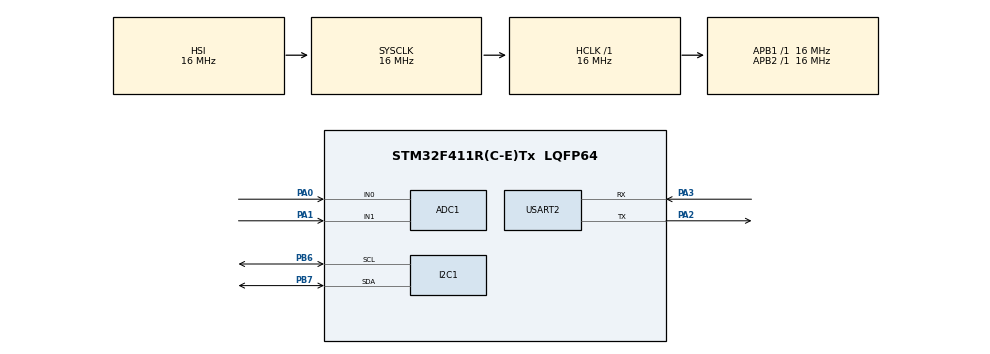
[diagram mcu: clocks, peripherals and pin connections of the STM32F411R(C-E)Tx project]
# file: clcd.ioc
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ADC1.Channel-0\#ChannelRegularConversion=ADC_CHANNEL_0
ADC1.Channel-1\#ChannelRegularConversion=ADC_CHANNEL_1
ADC1.ClockPrescaler=ADC_CLOCK_SYNC_PCLK_DIV6
ADC1.ContinuousConvMode=ENABLE
ADC1.DMAContinuousRequests=ENABLE
ADC1.NbrOfConversion=2
ADC1.NbrOfConversionFlag=1
ADC1.Rank-0\#ChannelRegularConversion=1
ADC1.Rank-1\#ChannelRegularConversion=2
ADC1.SamplingTime-0\#ChannelRegularConversion=ADC_SAMPLETIME_56CYCLES
ADC1.SamplingTime-1\#ChannelRegularConversion=ADC_SAMPLETIME_56CYCLES
ADC1.ScanConvMode=ENABLE
ADC1.master=1
Dma.ADC1.0.Direction=DMA_PERIPH_TO_MEMORY
Dma.ADC1.0.FIFOMode=DMA_FIFOMODE_DISABLE
Dma.ADC1.0.Instance=DMA2_Stream0
Dma.ADC1.0.MemDataAlignment=DMA_MDATAALIGN_HALFWORD
Dma.ADC1.0.MemInc=DMA_MINC_ENABLE
Dma.ADC1.0.Mode=DMA_CIRCULAR
Dma.ADC1.0.PeriphDataAlignment=DMA_PDATAALIGN_HALFWORD
Dma.ADC1.0.PeriphInc=DMA_PINC_DISABLE
Dma.ADC1.0.Priority=DMA_PRIORITY_LOW
Dma.Request0=ADC1
I2C1.I2C_Mode=I2C_Fast
Mcu.Family=STM32F4
Mcu.Name=STM32F411R(C-E)Tx
Mcu.Package=LQFP64
NVIC.DMA2_Stream0_IRQn=true\:0\:0\:false\:false\:true\:false\:true\:true
NVIC.PriorityGroup=NVIC_PRIORITYGROUP_4
NVIC.USART2_IRQn=true\:0\:0\:false\:false\:true\:true\:true\:true
PA0-WKUP.Signal=ADCx_IN0
PA1.Signal=ADCx_IN1
PA2.Mode=Asynchronous
PA2.Signal=USART2_TX
PA3.Mode=Asynchronous
PA3.Signal=USART2_RX
PB6.GPIO_Pu=GPIO_PULLUP
PB6.Mode=I2C
PB6.Signal=I2C1_SCL
PB7.GPIO_Pu=GPIO_PULLUP
PB7.Mode=I2C
PB7.Signal=I2C1_SDA
ProjectManager.HeapSize=0x200
ProjectManager.StackSize=0x400
ProjectManager.TargetToolchain=STM32CubeIDE
RCC.AHBFreq_Value=16000000
RCC.APB1Freq_Value=16000000
RCC.APB2Freq_Value=16000000
RCC.CortexFreq_Value=16000000
RCC.HSE_VALUE=25000000
RCC.HSI_VALUE=16000000
RCC.LSE_VALUE=32768
RCC.SYSCLKFreq_VALUE=16000000
RCC.VCOOutputFreq_Value=192000000
SH.ADCx_IN0.0=ADC1_IN0,IN0
SH.ADCx_IN1.0=ADC1_IN1,IN1
USART2.VirtualMode=VM_ASYNC
board=custom

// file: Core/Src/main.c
/* USER CODE BEGIN Header */
/**
 ******************************************************************************
 * @file           : main.c
 * @brief          : Main program body
 ******************************************************************************
 * @attention
 *
 * Copyright (c) 2024 STMicroelectronics.
 * All rights reserved.
 *
 * This software is licensed under terms that can be found in the LICENSE file
 * in the root directory of this software component.
 * If no LICENSE file comes with this software, it is provided AS-IS.
 *
 ******************************************************************************
 */
/* USER CODE END Header */
#include "main.h"

/* USER CODE BEGIN Includes */
#include "uart.h"
#include "I2C_CLCD.h"
#include <stdio.h>
/* USER CODE END Includes */

ADC_HandleTypeDef hadc1;
DMA_HandleTypeDef hdma_adc1;

I2C_HandleTypeDef hi2c1;

UART_HandleTypeDef huart2;

void SystemClock_Config(void);
static void MX_GPIO_Init(void);
static void MX_DMA_Init(void);
static void MX_I2C1_Init(void);
static void MX_USART2_UART_Init(void);
static void MX_ADC1_Init(void);

int main(void) {

	/* MCU Configuration--------------------------------------------------------*/

	/* Reset of all peripherals, Initializes the Flash interface and the Systick. */
	HAL_Init();

	/* Configure the system clock */
	SystemClock_Config();

	/* Initialize all configured peripherals */
	MX_GPIO_Init();
	MX_DMA_Init();
	MX_I2C1_Init();
	MX_USART2_UART_Init();
	MX_ADC1_Init();
	/* USER CODE BEGIN 2 */
	initUART(&huart2);
	printf("i2c scan start\n");
	for (int address = 0; address < 256; address++) { //target device detect
		if (HAL_I2C_IsDeviceReady(&hi2c1, address, 0, 10) == HAL_OK) { //10ms
			printf("%02x is ready\n", address);
			// detecting 0x4e, 0x4f (clcd) -> 0x27 + R/W
			// detecting 0xa0, 0xa1(eeprom), 0xd0, 0xd1(rtc)

		}
	}
	printf("i2c scan end\n");
	I2C_CLCD_init();
	I2C_CLCD_GotoXY(0, 0);
	I2C_CLCD_PutStr("                   ");
	I2C_CLCD_GotoXY(0, 1);
	I2C_CLCD_PutStr("                   ");
	I2C_CLCD_GotoXY(0, 0);
	I2C_CLCD_CustomFont();

	//setup ADC (DMA)
	uint16_t adcValue[2];
	HAL_ADC_Start_DMA(&hadc1, (uint32_t*) adcValue, 2);

	I2C_CLCD_GotoXY(0, 0);
	I2C_CLCD_PutC(0x00);
	I2C_CLCD_PutC(0x01);
	I2C_CLCD_PutC(2);
	I2C_CLCD_PutC(3);
	//I2C_CLCD_GotoXY(12, 1);
	I2C_CLCD_PutC(4);
	I2C_CLCD_PutC(5);
	I2C_CLCD_PutC(6);
	I2C_CLCD_PutC(7);
	I2C_CLCD_CG_Update();

	/* USER CODE END 2 */

	/* Infinite loop */
	/* USER CODE BEGIN WHILE */
	while (1) {
		/*static int count = 0;
		 I2C_CLCD_Progressbar(count, 0);
		 count++;
		 count %= 81;*/

		/*
		 // A0 conversion 0 ~ 4095
		 HAL_ADC_Start(&hadc1);
		 HAL_ADC_PollForConversion(&hadc1, 10);
		 uint16_t adcValue1 = HAL_ADC_GetValue(&hadc1);
		 HAL_ADC_Stop(&hadc1);
		 // A1 conversion
		 HAL_ADC_PollForConversion(&hadc1, 10);
		 uint16_t adcValue2 = HAL_ADC_GetValue(&hadc1);

		 I2C_CLCD_Progressbar(adcValue1/51,0); // or Using map function
		 I2C_CLCD_Progressbar(adcValue2/51,1);
		 */

		/*I2C_CLCD_Progressbar(adcValue[0]/51,0); // or Using map function
		 I2C_CLCD_Progressbar(adcValue[1]/51,1);*/

		I2C_CLCD_CG_ScrollLeft();
		I2C_CLCD_CG_DrawPixel(39, 7 - (adcValue[1] / 585)); //4095/15 = 273
		I2C_CLCD_CG_Update();
		/*I2C_CLCD_GotoXY(5, 0);
		 char str[20];
		 sprintf(str, "%5d", adcValue[1]);
		 I2C_CLCD_PutStr(str);*/
		HAL_Delay(50);

		/* USER CODE END WHILE */

	}
}

void SystemClock_Config(void) {
	RCC_OscInitTypeDef RCC_OscInitStruct = { 0 };
	RCC_ClkInitTypeDef RCC_ClkInitStruct = { 0 };

	/** Configure the main internal regulator output voltage
	 */
	__HAL_RCC_PWR_CLK_ENABLE();
	__HAL_PWR_VOLTAGESCALING_CONFIG(PWR_REGULATOR_VOLTAGE_SCALE1);

	/** Initializes the RCC Oscillators according to the specified parameters
	 * in the RCC_OscInitTypeDef structure.
	 */
	RCC_OscInitStruct.OscillatorType = RCC_OSCILLATORTYPE_HSI;
	RCC_OscInitStruct.HSIState = RCC_HSI_ON;
	RCC_OscInitStruct.HSICalibrationValue = RCC_HSICALIBRATION_DEFAULT;
	RCC_OscInitStruct.PLL.PLLState = RCC_PLL_NONE;
	if (HAL_RCC_OscConfig(&RCC_OscInitStruct) != HAL_OK) {
		Error_Handler();
	}

	/** Initializes the CPU, AHB and APB buses clocks
	 */
	RCC_ClkInitStruct.ClockType = RCC_CLOCKTYPE_HCLK | RCC_CLOCKTYPE_SYSCLK
			| RCC_CLOCKTYPE_PCLK1 | RCC_CLOCKTYPE_PCLK2;
	RCC_ClkInitStruct.SYSCLKSource = RCC_SYSCLKSOURCE_HSI;
	RCC_ClkInitStruct.AHBCLKDivider = RCC_SYSCLK_DIV1;
	RCC_ClkInitStruct.APB1CLKDivider = RCC_HCLK_DIV1;
	RCC_ClkInitStruct.APB2CLKDivider = RCC_HCLK_DIV1;

	if (HAL_RCC_ClockConfig(&RCC_ClkInitStruct, FLASH_LATENCY_0) != HAL_OK) {
		Error_Handler();
	}
}

static void MX_ADC1_Init(void) {

	ADC_ChannelConfTypeDef sConfig = { 0 };

	/** Configure the global features of the ADC (Clock, Resolution, Data Alignment and number of conversion)
	 */
	hadc1.Instance = ADC1;
	hadc1.Init.ClockPrescaler = ADC_CLOCK_SYNC_PCLK_DIV6;
	hadc1.Init.Resolution = ADC_RESOLUTION_12B;
	hadc1.Init.ScanConvMode = ENABLE;
	hadc1.Init.ContinuousConvMode = ENABLE;
	hadc1.Init.DiscontinuousConvMode = DISABLE;
	hadc1.Init.ExternalTrigConvEdge = ADC_EXTERNALTRIGCONVEDGE_NONE;
	hadc1.Init.ExternalTrigConv = ADC_SOFTWARE_START;
	hadc1.Init.DataAlign = ADC_DATAALIGN_RIGHT;
	hadc1.Init.NbrOfConversion = 2;
	hadc1.Init.DMAContinuousRequests = ENABLE;
	hadc1.Init.EOCSelection = ADC_EOC_SINGLE_CONV;
	if (HAL_ADC_Init(&hadc1) != HAL_OK) {
		Error_Handler();
	}

	/** Configure for the selected ADC regular channel its corresponding rank in the sequencer and its sample time.
	 */
	sConfig.Channel = ADC_CHANNEL_0;
	sConfig.Rank = 1;
	sConfig.SamplingTime = ADC_SAMPLETIME_56CYCLES;
	if (HAL_ADC_ConfigChannel(&hadc1, &sConfig) != HAL_OK) {
		Error_Handler();
	}

	/** Configure for the selected ADC regular channel its corresponding rank in the sequencer and its sample time.
	 */
	sConfig.Channel = ADC_CHANNEL_1;
	sConfig.Rank = 2;
	if (HAL_ADC_ConfigChannel(&hadc1, &sConfig) != HAL_OK) {
		Error_Handler();
	}

}

static void MX_I2C1_Init(void) {

	hi2c1.Instance = I2C1;
	hi2c1.Init.ClockSpeed = 400000;
	hi2c1.Init.DutyCycle = I2C_DUTYCYCLE_2;
	hi2c1.Init.OwnAddress1 = 0;
	hi2c1.Init.AddressingMode = I2C_ADDRESSINGMODE_7BIT;
	hi2c1.Init.DualAddressMode = I2C_DUALADDRESS_DISABLE;
	hi2c1.Init.OwnAddress2 = 0;
	hi2c1.Init.GeneralCallMode = I2C_GENERALCALL_DISABLE;
	hi2c1.Init.NoStretchMode = I2C_NOSTRETCH_DISABLE;
	if (HAL_I2C_Init(&hi2c1) != HAL_OK) {
		Error_Handler();
	}

}

static void MX_USART2_UART_Init(void) {

	huart2.Instance = USART2;
	huart2.Init.BaudRate = 115200;
	huart2.Init.WordLength = UART_WORDLENGTH_8B;
	huart2.Init.StopBits = UART_STOPBITS_1;
	huart2.Init.Parity = UART_PARITY_NONE;
	huart2.Init.Mode = UART_MODE_TX_RX;
	huart2.Init.HwFlowCtl = UART_HWCONTROL_NONE;
	huart2.Init.OverSampling = UART_OVERSAMPLING_16;
	if (HAL_UART_Init(&huart2) != HAL_OK) {
		Error_Handler();
	}

}

static void MX_DMA_Init(void) {

	/* DMA controller clock enable */
	__HAL_RCC_DMA2_CLK_ENABLE();

	/* DMA interrupt init */
	/* DMA2_Stream0_IRQn interrupt configuration */
	HAL_NVIC_SetPriority(DMA2_Stream0_IRQn, 0, 0);
	HAL_NVIC_EnableIRQ(DMA2_Stream0_IRQn);

}

static void MX_GPIO_Init(void) {

	/* GPIO Ports Clock Enable */
	__HAL_RCC_GPIOA_CLK_ENABLE();
	__HAL_RCC_GPIOB_CLK_ENABLE();

}

void Error_Handler(void) {
	__disable_irq();
	while (1) {
	}
}
